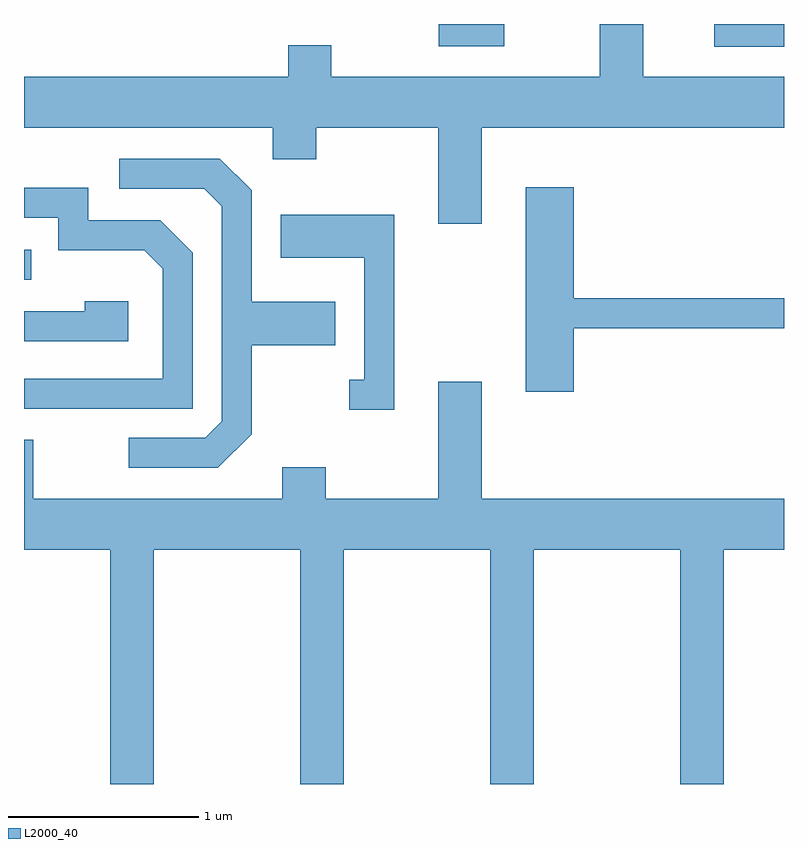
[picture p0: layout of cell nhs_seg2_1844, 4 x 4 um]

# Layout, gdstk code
import gdstk
lib = gdstk.Library(unit=1e-6, precision=1e-09)
def R(c, l, rs):  # rectangles x0, y0, x1, y1
    for r in rs: c.add(gdstk.rectangle(r[:2], r[2:], *l))
def P(c, l, *ps):  # polygons
    for p in ps: c.add(gdstk.Polygon(p, *l))
L2000_40 = (2000, 40)

nhs_seg2_1844 = lib.new_cell('nhs_seg2_1844')
R(nhs_seg2_1844, L2000_40, [(239.611,996.456,239.648,996.614), (243.243,997.681,243.611,997.802), (241.793,997.686,242.139,997.802)])
P(nhs_seg2_1844, L2000_40, [(242.019,997.256),(243.611,997.256),(243.611,997.524),(242.869,997.524),(242.869,997.802),(242.641,997.802),(242.641,997.524),(241.229,997.524),(241.229,997.689),(241.001,997.689),(241.001,997.524),(239.611,997.524),(239.611,997.256),(240.921,997.256),(240.921,997.091),(241.149,997.091),(241.149,997.256),(241.791,997.256),(241.791,996.751),(242.019,996.751)],
  [(240.809,995.644),(240.809,996.111),(241.249,996.111),(241.249,996.339),(240.809,996.339),(240.809,996.927),(240.642,997.094),(240.113,997.094),(240.113,996.936),(240.559,996.936),(240.651,996.844),(240.651,995.712),(240.564,995.624),(240.163,995.624),(240.163,995.466),(240.632,995.466)],
  [(242.504,996.201),(243.611,996.201),(243.611,996.359),(242.504,996.359),(242.504,996.944),(242.251,996.944),(242.251,995.866),(242.504,995.866)],
  [(240.499,996.597),(240.327,996.769),(239.949,996.769),(239.949,996.939),(239.611,996.939),(239.611,996.781),(239.791,996.781),(239.791,996.611),(240.244,996.611),(240.341,996.514),(240.341,995.934),(239.611,995.934),(239.611,995.776),(240.499,995.776)],
  [(241.559,996.799),(240.961,996.799),(240.961,996.571),(241.401,996.571),(241.401,995.929),(241.323,995.929),(241.323,995.771),(241.559,995.771)],
  [(240.159,996.344),(239.931,996.344),(239.931,996.289),(239.611,996.289),(239.611,996.131),(240.159,996.131)],
  [(240.294,995.036),(241.066,995.036),(241.066,993.802),(241.294,993.802),(241.294,995.036),(242.066,995.036),(242.066,993.802),(242.294,993.802),(242.294,995.036),(243.066,995.036),(243.066,993.802),(243.294,993.802),(243.294,995.036),(243.611,995.036),(243.611,995.304),(242.019,995.304),(242.019,995.919),(241.791,995.919),(241.791,995.304),(241.199,995.304),(241.199,995.469),(240.971,995.469),(240.971,995.304),(239.659,995.304),(239.659,995.614),(239.611,995.614),(239.611,995.036),(240.066,995.036),(240.066,993.802),(240.294,993.802)])

lib.write_gds('nhs_seg2_1844.gds')
